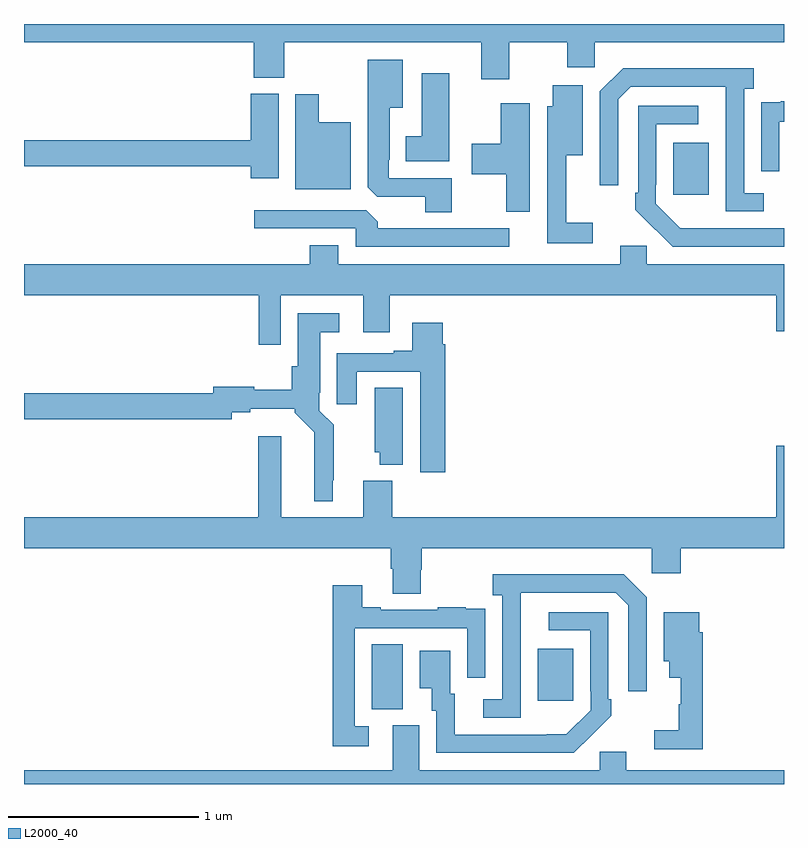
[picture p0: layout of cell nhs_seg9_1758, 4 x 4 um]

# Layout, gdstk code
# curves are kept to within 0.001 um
import gdstk
lib = gdstk.Library(unit=1e-6, precision=1e-09)
def R(c, l, rs):  # rectangles x0, y0, x1, y1
    for r in rs: c.add(gdstk.rectangle(r[:2], r[2:], *l))
def P(c, l, *ps):  # polygons
    for p in ps: c.add(gdstk.Polygon(p, *l))
L2000_40 = (2000, 40)

nhs_seg9_1758 = lib.new_cell('nhs_seg9_1758')
R(nhs_seg9_1758, L2000_40, [(210.83,1208.893,210.994,1209.236), (211.703,1208.937,211.891,1209.211), (212.417,1211.601,212.605,1211.875)])
P(nhs_seg9_1758, L2000_40, [(211.554,1212.404),(211.858,1212.404),(211.858,1212.273),(212.004,1212.273),(212.004,1212.404),(213,1212.404),(213,1212.5),(209,1212.5),(209,1212.404),(210.209,1212.404),(210.209,1212.217),(210.369,1212.217),(210.369,1212.404),(211.406,1212.404),(211.406,1212.21),(211.554,1212.21)],
  [(211.252,1211.688),(210.921,1211.688),(210.921,1211.785),(210.925,1211.785),(210.925,1212.059),(210.994,1212.059),(210.994,1212.313),(210.809,1212.313),(210.809,1211.641),(210.858,1211.592),(211.112,1211.592),(211.112,1211.509),(211.252,1211.509)],
  [(212.893,1211.61),(212.79,1211.61),(212.79,1212.158),(212.842,1212.158),(212.842,1212.268),(212.154,1212.268),(212.031,1212.145),(212.031,1211.652),(212.127,1211.652),(212.127,1212.105),(212.193,1212.171),(212.693,1212.171),(212.694,1211.514),(212.893,1211.514)],
  [(211.237,1212.241),(211.094,1212.241),(211.094,1211.908),(211.01,1211.908),(211.01,1211.777),(211.237,1211.777)],
  [(211.993,1211.455),(211.853,1211.455),(211.853,1211.81),(211.942,1211.81),(211.942,1212.178),(211.784,1212.178),(211.784,1212.067),(211.755,1212.067),(211.755,1211.346),(211.993,1211.346)],
  [(210.34,1212.132),(210.194,1212.132),(210.194,1211.888),(209,1211.888),(209,1211.752),(210.194,1211.752),(210.194,1211.688),(210.34,1211.688)],
  [(210.721,1211.983),(210.55,1211.983),(210.55,1212.13),(210.428,1212.13),(210.428,1211.63),(210.721,1211.63)],
  [(212.976,1211.985),(213,1211.985),(213,1212.094),(212.983,1212.094),(212.983,1212.087),(212.881,1212.087),(212.881,1211.978),(212.88,1211.978),(212.88,1211.724),(212.976,1211.724)],
  [(211.663,1212.082),(211.508,1212.082),(211.508,1211.871),(211.356,1211.871),(211.356,1211.708),(211.538,1211.708),(211.538,1211.511),(211.663,1211.511)],
  [(213,1211.424),(212.454,1211.425),(212.325,1211.553),(212.325,1211.653),(212.328,1211.653),(212.328,1211.973),(212.548,1211.973),(212.548,1212.069),(212.232,1212.069),(212.232,1211.611),(212.217,1211.611),(212.217,1211.523),(212.414,1211.328),(213,1211.328)],
  [(211.555,1211.424),(210.863,1211.424),(210.863,1211.458),(210.801,1211.52),(210.213,1211.52),(210.213,1211.424),(210.747,1211.424),(210.747,1211.328),(211.555,1211.328)],
  [(210.351,1211.072),(210.785,1211.072),(210.785,1210.878),(210.925,1210.878),(210.925,1211.072),(212.96,1211.072),(212.96,1210.884),(213,1210.884),(213,1211.236),(212.277,1211.236),(212.277,1211.334),(212.138,1211.334),(212.138,1211.236),(210.655,1211.236),(210.655,1211.335),(210.503,1211.335),(210.503,1211.236),(209,1211.236),(209,1211.072),(210.235,1211.072),(210.235,1210.812),(210.351,1210.812)],
  [(210.625,1210.099),(210.629,1210.099),(210.629,1210.39),(210.555,1210.464),(210.555,1210.558),(210.559,1210.558),(210.559,1210.877),(210.658,1210.877),(210.658,1210.978),(210.44,1210.978),(210.44,1210.698),(210.41,1210.698),(210.41,1210.575),(210.213,1210.575),(210.213,1210.592),(209.997,1210.592),(209.997,1210.556),(209,1210.556),(209,1210.42),(210.093,1210.42),(210.093,1210.456),(210.19,1210.456),(210.19,1210.475),(210.426,1210.475),(210.426,1210.454),(210.528,1210.352),(210.527,1209.989),(210.625,1209.989)],
  [(211.217,1210.814),(211.204,1210.814),(211.204,1210.927),(211.043,1210.927),(211.043,1210.78),(210.947,1210.78),(210.947,1210.767),(210.647,1210.767),(210.647,1210.5),(210.751,1210.5),(210.751,1210.671),(211.085,1210.671),(211.085,1210.14),(211.217,1210.14)],
  [(210.994,1210.586),(210.845,1210.586),(210.845,1210.245),(210.872,1210.245),(210.872,1210.181),(210.994,1210.181)],
  [(211.089,1209.627),(211.094,1209.627),(211.094,1209.74),(212.304,1209.74),(212.304,1209.609),(212.456,1209.609),(212.456,1209.74),(213,1209.74),(213,1210.279),(212.96,1210.279),(212.96,1209.904),(210.938,1209.904),(210.938,1210.096),(210.785,1210.096),(210.785,1209.904),(210.355,1209.904),(210.355,1210.33),(210.233,1210.33),(210.233,1209.904),(209,1209.904),(209,1209.74),(210.929,1209.74),(210.929,1209.634),(210.941,1209.634),(210.941,1209.502),(211.089,1209.502)],
  [(211.614,1209.307),(211.615,1209.507),(212.115,1209.507),(212.181,1209.441),(212.181,1208.988),(212.277,1208.988),(212.277,1209.483),(212.156,1209.604),(211.467,1209.604),(211.467,1209.494),(211.518,1209.494),(211.518,1208.946),(211.416,1208.946),(211.416,1208.85),(211.614,1208.85)],
  [(210.814,1208.805),(210.741,1208.805),(210.741,1209.321),(211.332,1209.321),(211.332,1209.06),(211.428,1209.06),(211.428,1209.314),(211.427,1209.314),(211.427,1209.423),(211.325,1209.423),(211.325,1209.43),(211.177,1209.43),(211.177,1209.417),(210.877,1209.417),(210.877,1209.43),(210.781,1209.43),(210.781,1209.547),(210.625,1209.547),(210.625,1208.7),(210.814,1208.7)],
  [(211.985,1208.755),(211.986,1208.754),(212.091,1208.859),(212.091,1208.947),(212.076,1208.947),(212.076,1209.405),(211.761,1209.405),(211.761,1209.309),(211.98,1209.309),(211.98,1208.989),(211.983,1208.989),(211.983,1208.889),(211.855,1208.761),(211.267,1208.76),(211.267,1208.976),(211.243,1208.976),(211.243,1209.202),(211.082,1209.202),(211.082,1209.005),(211.145,1209.005),(211.145,1208.886),(211.17,1208.886),(211.17,1208.664),(211.894,1208.664)],
  [(212.573,1209.299),(212.554,1209.299),(212.554,1209.403),(212.366,1209.403),(212.366,1209.146),(212.396,1209.146),(212.396,1209.059),(212.456,1209.059),(212.456,1208.919),(212.445,1208.919),(212.445,1208.783),(212.316,1208.783),(212.316,1208.682),(212.573,1208.682)],
  [(213,1208.572),(212.17,1208.572),(212.17,1208.67),(212.031,1208.67),(212.031,1208.572),(211.081,1208.572),(211.081,1208.808),(210.941,1208.808),(210.941,1208.572),(209,1208.572),(209,1208.5),(213,1208.5)])

lib.write_gds('nhs_seg9_1758.gds')
